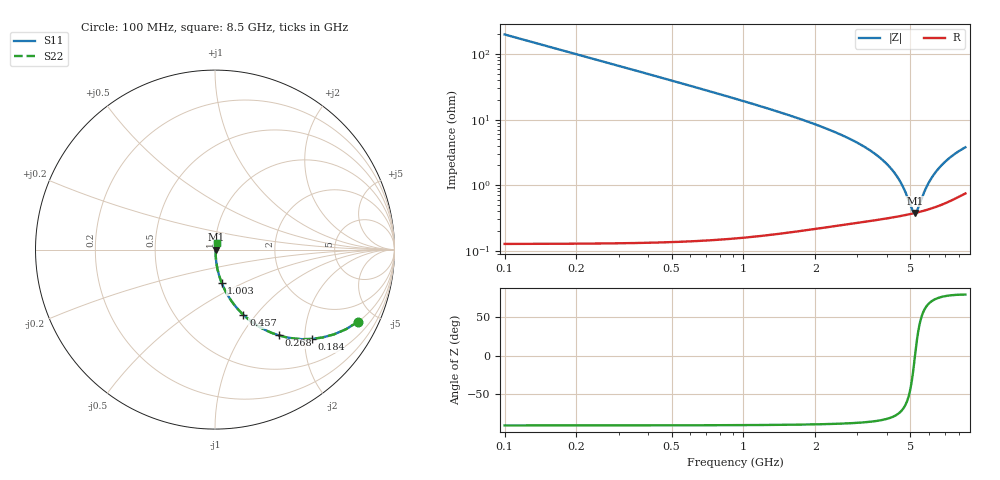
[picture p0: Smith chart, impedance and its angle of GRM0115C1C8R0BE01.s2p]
!Murata Part Number: GRM0115C1C8R0BE01
!These Parameters are Measured in Series Mode Connection
!Data Generated on Mar 30, 2021
!  o--ll--o
!Port1  Port2
!  o------o
!Operation Temp=25[degC], DC Bias Voltage=0[V]
!Freq. Start=100[MHz] Stop=9[GHz] 401[Steps]
# Hz S RI R 50
!Freq.(Hz) S11(Real) S11(Imag) S21(Real) S21(Imag) S12(Real) S12(Imag) S22(Real) S22(Imag)
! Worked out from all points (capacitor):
!   401 points, 100 MHz to 8.5 GHz, reference 50 ohm
!   read as one part in series: C = 8 pF near 142 MHz
!   lowest |Z| = 374 mohm at 5.224 GHz (marker M1)
!   series resonance near 5.23 GHz, so ESL is about 120 pH
!   S11 on the Smith chart (normalised r, x): 100 MHz: 1.00, -3.98; 184 MHz: 1.00, -2.16; 268 MHz: 1.00, -1.48; 457 MHz: 1.00, -0.86; 1.003 GHz: 1.00, -0.38; 8.5 GHz: 1.01, +0.07
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1e8  0.798 -0.4012  0.202 0.4012  0.202 0.4012  0.798 -0.4012
1.84e8  0.5383 -0.4979  0.4617 0.4979  0.4617 0.4979  0.5383 -0.4979
2.68e8  0.3542 -0.4774  0.6458 0.4774  0.6458 0.4774  0.3542 -0.4774
3.52e8  0.2408 -0.4264  0.7592 0.4264  0.7592 0.4264  0.2408 -0.4264
4.57e8  0.1579 -0.3631  0.8421 0.3631  0.8421 0.3631  0.1579 -0.3631
6.67e8  0.0802 -0.2692  0.9198 0.2692  0.9198 0.2692  0.0802 -0.2692
1.003e9  0.0364 -0.1833  0.9636 0.1833  0.9636 0.1833  0.0364 -0.1833
1.507e9  0.0161 -0.1183  0.9839 0.1183  0.9839 0.1183  0.0161 -0.1183
2.914e9  0.00475 -0.0463  0.9952 0.0463  0.9952 0.0463  0.00475 -0.0463
3.733e9  0.00363 -0.0257  0.9964 0.0257  0.9964 0.0257  0.00363 -0.0257
4.3e9  0.00345 -0.0147  0.9966 0.0147  0.9966 0.0147  0.00345 -0.0147
4.678e9  0.00349 -0.00836  0.9965 0.00836  0.9965 0.00836  0.00349 -0.00836
5.098e9  0.00365 -0.00191  0.9963 0.00191  0.9963 0.00191  0.00365 -0.00191
5.224e9  0.00372 -8.51e-05  0.9963 8.51e-05  0.9963 8.51e-05  0.00372 -8.51e-05
5.35e9  0.0038 0.0017  0.9962 -0.0017  0.9962 -0.0017  0.0038 0.0017
5.707e9  0.00409 0.00653  0.9959 -0.00653  0.9959 -0.00653  0.00409 0.00653
5.98e9  0.00435 0.01  0.9956 -0.01  0.9956 -0.01  0.00435 0.01
6.295e9  0.00471 0.0139  0.9953 -0.0139  0.9953 -0.0139  0.00471 0.0139
6.673e9  0.00522 0.0183  0.9948 -0.0183  0.9948 -0.0183  0.00522 0.0183
7.114e9  0.00592 0.0231  0.9941 -0.0231  0.9941 -0.0231  0.00592 0.0231
7.765e9  0.00714 0.0297  0.9929 -0.0297  0.9929 -0.0297  0.00714 0.0297
8.5e9  0.00871 0.0364  0.9913 -0.0364  0.9913 -0.0364  0.00871 0.0364
